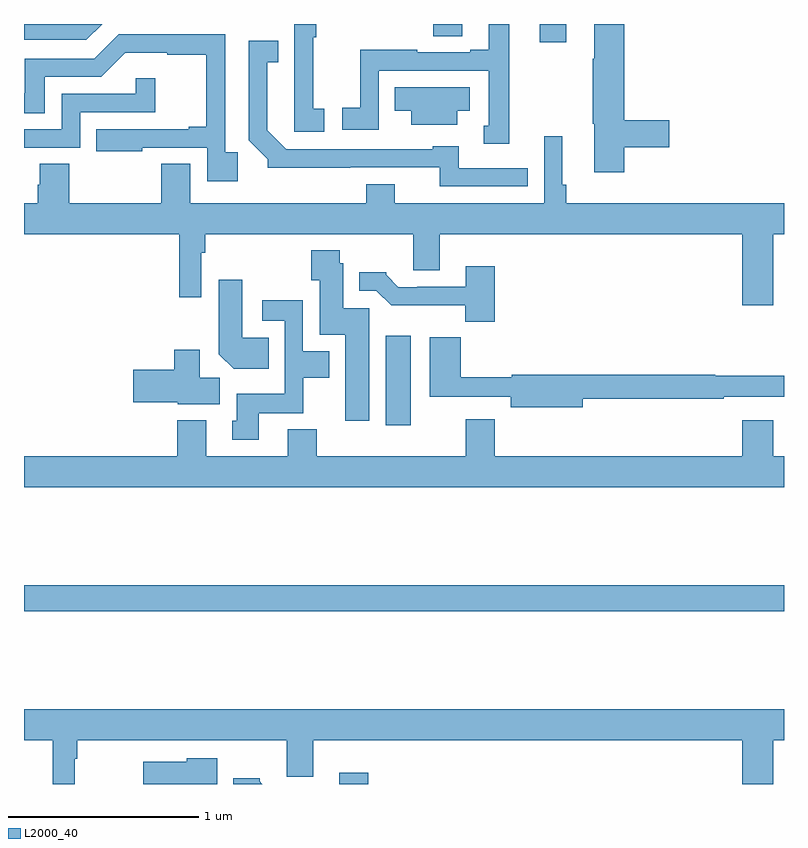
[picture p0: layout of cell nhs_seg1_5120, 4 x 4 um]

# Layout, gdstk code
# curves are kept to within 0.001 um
import gdstk
lib = gdstk.Library(unit=1e-6, precision=1e-09)
def R(c, l, rs):  # rectangles x0, y0, x1, y1
    for r in rs: c.add(gdstk.rectangle(r[:2], r[2:], *l))
def P(c, l, *ps):  # polygons
    for p in ps: c.add(gdstk.Polygon(p, *l))
L2000_40 = (2000, 40)

nhs_seg1_5120 = lib.new_cell('nhs_seg1_5120')
R(nhs_seg1_5120, L2000_40, [(390.659,522.199,390.812,522.259), (389,523.108,393,523.244), (390.905,524.088,391.036,524.557), (391.715,526.104,391.855,526.199), (391.154,526.135,391.306,526.199)])
P(nhs_seg1_5120, L2000_40, [(392.159,525.55),(392.395,525.55),(392.395,525.692),(392.159,525.692),(392.159,526.199),(392,526.199),(392,526.016),(391.993,526.016),(391.993,525.675),(392,525.675),(392,525.42),(392.159,525.42)],
  [(390.58,525.753),(390.522,525.753),(390.522,526.129),(390.539,526.129),(390.539,526.199),(390.423,526.199),(390.423,525.908),(390.422,525.908),(390.422,525.633),(390.58,525.633)],
  [(389.411,526.199),(389,526.199),(389,526.116),(389.328,526.116)],
  [(391.555,526.199),(391.445,526.199),(391.445,526.063),(391.349,526.063),(391.349,526.05),(391.07,526.05),(391.07,526.063),(390.769,526.063),(390.769,525.758),(390.675,525.758),(390.675,525.642),(390.867,525.642),(390.867,525.954),(391.446,525.954),(391.446,525.663),(391.421,525.663),(391.421,525.569),(391.555,525.569)],
  [(390.125,525.523),(390.06,525.523),(390.06,526.146),(389.499,526.146),(389.37,526.017),(389.003,526.017),(389.003,525.834),(389,525.834),(389,525.73),(389.11,525.73),(389.11,525.921),(389.406,525.921),(389.534,526.049),(389.753,526.049),(389.753,526.038),(389.959,526.038),(389.959,525.658),(389.867,525.658),(389.867,525.645),(389.38,525.645),(389.38,525.53),(389.623,525.53),(389.623,525.549),(389.964,525.549),(389.964,525.372),(390.125,525.372)],
  [(391.652,525.441),(391.288,525.441),(391.288,525.556),(391.152,525.556),(391.152,525.54),(390.381,525.54),(390.28,525.641),(390.28,525.998),(390.338,525.998),(390.338,526.111),(390.183,526.111),(390.183,525.586),(390.282,525.487),(390.282,525.443),(391.189,525.444),(391.189,525.345),(391.652,525.345)],
  [(389.295,525.735),(389.69,525.735),(389.69,525.913),(389.589,525.913),(389.589,525.831),(389.199,525.831),(389.199,525.645),(389,525.645),(389,525.549),(389.295,525.549)],
  [(391.279,525.743),(391.345,525.743),(391.345,525.865),(390.952,525.865),(390.952,525.743),(391.037,525.743),(391.037,525.668),(391.279,525.668)],
  [(392.944,525.092),(393,525.092),(393,525.256),(391.853,525.256),(391.853,525.352),(391.834,525.352),(391.834,525.607),(391.737,525.607),(391.737,525.256),(390.952,525.256),(390.952,525.355),(390.8,525.355),(390.8,525.256),(389.875,525.256),(389.875,525.464),(389.723,525.464),(389.723,525.256),(389.237,525.256),(389.237,525.464),(389.084,525.464),(389.084,525.354),(389.072,525.354),(389.072,525.256),(389,525.256),(389,525.092),(389.818,525.092),(389.818,524.76),(389.934,524.76),(389.934,524.996),(389.954,524.996),(389.954,525.092),(391.049,525.092),(391.049,524.902),(391.189,524.902),(391.189,525.092),(392.78,525.092),(392.78,524.718),(392.944,524.718)],
  [(390.817,524.703),(390.679,524.703),(390.679,524.94),(390.663,524.94),(390.663,525.007),(390.511,525.007),(390.511,524.851),(390.557,524.851),(390.557,524.564),(390.692,524.564),(390.692,524.112),(390.817,524.112)],
  [(391.478,524.923),(391.325,524.923),(391.325,524.817),(391.069,524.817),(391.069,524.814),(390.97,524.814),(390.906,524.878),(390.906,524.893),(390.764,524.893),(390.764,524.796),(390.855,524.796),(390.934,524.718),(391.323,524.718),(391.323,524.633),(391.478,524.633)],
  [(390.287,524.548),(390.148,524.548),(390.148,524.854),(390.026,524.854),(390.026,524.462),(390.104,524.384),(390.287,524.384)],
  [(390.235,524.15),(390.471,524.15),(390.471,524.336),(390.607,524.336),(390.607,524.476),(390.468,524.476),(390.468,524.746),(390.255,524.746),(390.255,524.637),(390.372,524.637),(390.372,524.254),(390.119,524.254),(390.119,524.112),(390.095,524.112),(390.095,524.01),(390.235,524.01)],
  [(391.942,524.226),(392.684,524.226),(392.684,524.238),(393,524.238),(393,524.347),(392.638,524.347),(392.638,524.354),(391.566,524.354),(391.566,524.339),(391.298,524.339),(391.298,524.551),(391.136,524.551),(391.136,524.238),(391.562,524.238),(391.562,524.183),(391.942,524.183)],
  [(390.031,524.336),(389.926,524.336),(389.926,524.485),(389.792,524.485),(389.792,524.378),(389.574,524.378),(389.574,524.207),(389.808,524.207),(389.808,524.198),(390.031,524.198)],
  [(393,523.924),(392.944,523.924),(392.944,524.113),(392.78,524.113),(392.78,523.924),(391.478,523.924),(391.478,524.119),(391.325,524.119),(391.325,523.924),(390.542,523.924),(390.542,524.065),(390.389,524.065),(390.389,523.924),(389.959,523.924),(389.959,524.113),(389.807,524.113),(389.807,523.924),(389,523.924),(389,523.76),(393,523.76)],
  [(389.268,522.332),(389.281,522.332),(389.281,522.428),(390.383,522.428),(390.383,522.238),(390.523,522.238),(390.523,522.428),(392.78,522.428),(392.78,522.199),(392.944,522.199),(392.944,522.428),(393,522.428),(393,522.592),(389,522.592),(389,522.428),(389.152,522.428),(389.152,522.199),(389.268,522.199)],
  [(390.016,522.334),(389.856,522.334),(389.856,522.316),(389.628,522.316),(389.628,522.199),(390.016,522.199)],
  [(390.24,522.214),(390.24,522.229),(390.101,522.229),(390.101,522.199),(390.255,522.199)])

lib.write_gds('nhs_seg1_5120.gds')
